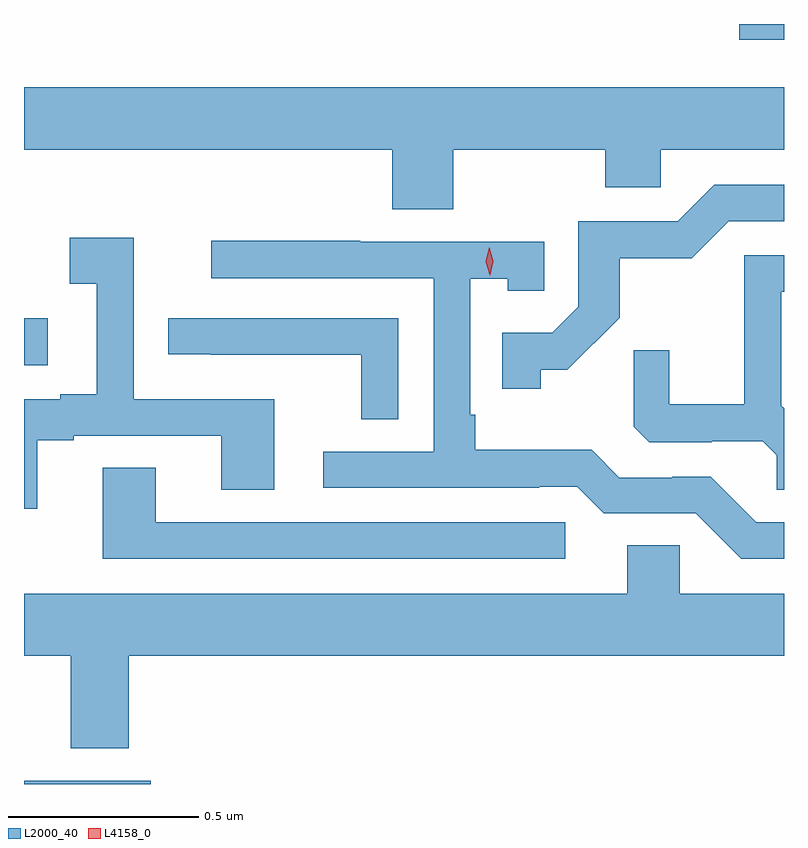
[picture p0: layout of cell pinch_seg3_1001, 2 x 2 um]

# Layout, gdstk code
import gdstk
lib = gdstk.Library(unit=1e-6, precision=1e-09)
def R(c, l, rs):  # rectangles x0, y0, x1, y1
    for r in rs: c.add(gdstk.rectangle(r[:2], r[2:], *l))
def P(c, l, *ps):  # polygons
    for p in ps: c.add(gdstk.Polygon(p, *l))
L2000_40 = (2000, 40)
L4158_0 = (4158, 0)

pinch_seg3_1001 = lib.new_cell('pinch_seg3_1001')
R(pinch_seg3_1001, L2000_40, [(448.436,743.203,448.769,743.212), (448.436,744.305,448.498,744.429), (450.318,745.161,450.436,745.203)])
P(pinch_seg3_1001, L2000_40, [(449.565,744.872),(449.965,744.872),(449.965,744.774),(450.111,744.774),(450.111,744.872),(450.436,744.872),(450.436,745.036),(448.436,745.036),(448.436,744.872),(449.405,744.872),(449.405,744.715),(449.565,744.715)],
  [(449.796,744.293),(449.866,744.293),(450.004,744.43),(450.004,744.586),(450.193,744.586),(450.291,744.684),(450.436,744.684),(450.436,744.78),(450.252,744.78),(450.156,744.684),(449.895,744.684),(449.895,744.459),(449.826,744.39),(449.695,744.39),(449.695,744.243),(449.796,744.243)],
  [(448.471,744.108),(448.567,744.108),(448.567,744.12),(448.955,744.12),(448.955,743.977),(449.095,743.977),(449.095,744.216),(448.725,744.216),(448.725,744.64),(448.557,744.64),(448.557,744.52),(448.628,744.52),(448.628,744.229),(448.532,744.229),(448.532,744.216),(448.436,744.216),(448.436,743.928),(448.471,743.928)],
  [(450.436,743.892),(450.363,743.892),(450.243,744.012),(450.142,744.012),(450.142,744.009),(450.003,744.009),(449.93,744.082),(449.623,744.082),(449.623,744.175),(449.61,744.175),(449.61,744.533),(449.709,744.533),(449.709,744.501),(449.805,744.501),(449.805,744.63),(449.321,744.63),(449.321,744.633),(448.929,744.633),(448.929,744.534),(449.514,744.534),(449.514,744.078),(449.223,744.078),(449.223,743.982),(449.792,743.982),(449.792,743.985),(449.892,743.985),(449.961,743.916),(450.204,743.916),(450.324,743.796),(450.436,743.796)],
  [(450.436,744.192),(450.429,744.199),(450.429,744.498),(450.436,744.498),(450.436,744.594),(450.332,744.594),(450.332,744.202),(450.134,744.202),(450.134,744.345),(450.04,744.345),(450.04,744.143),(450.081,744.102),(450.246,744.102),(450.246,744.105),(450.38,744.105),(450.417,744.068),(450.417,743.977),(450.436,743.977)],
  [(449.421,744.429),(448.815,744.429),(448.815,744.334),(448.927,744.334),(448.927,744.333),(449.323,744.333),(449.323,744.163),(449.421,744.163)],
  [(449.86,743.892),(448.783,743.892),(448.783,744.035),(448.643,744.035),(448.643,743.796),(449.86,743.796)],
  [(448.712,743.54),(450.436,743.54),(450.436,743.704),(450.162,743.704),(450.162,743.831),(450.023,743.831),(450.023,743.704),(448.436,743.704),(448.436,743.54),(448.559,743.54),(448.559,743.297),(448.712,743.297)])
P(pinch_seg3_1001, L4158_0, [(449.663,744.542),(449.662,744.543),(449.651,744.578),(449.66,744.615),(449.66,744.615),(449.66,744.615),(449.671,744.579),(449.663,744.543)])

lib.write_gds('pinch_seg3_1001.gds')
